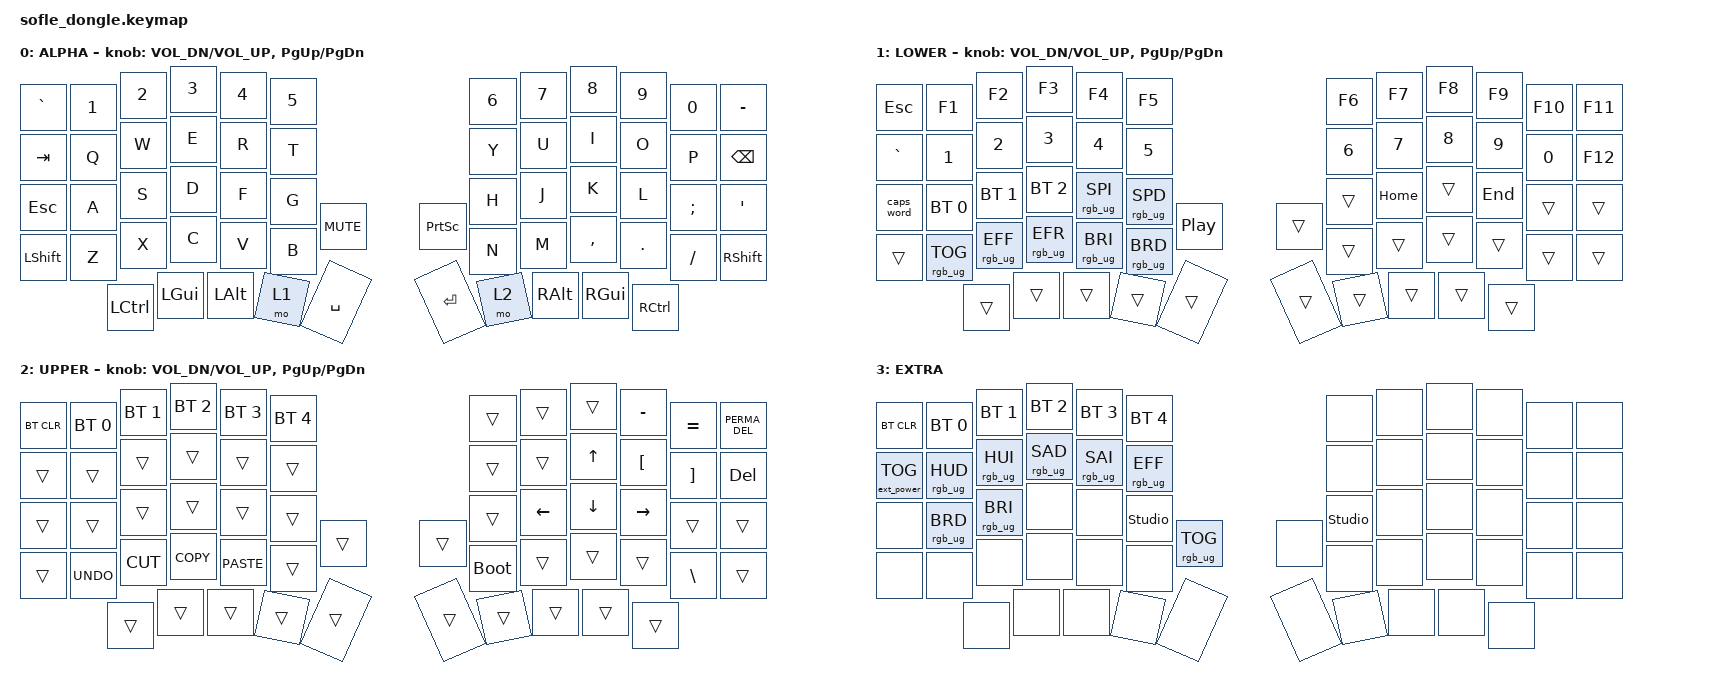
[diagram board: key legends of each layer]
/*
 * Copyright (c) 2020 The ZMK Contributors
 *
 * SPDX-License-Identifier: MIT
 */

#include <behaviors.dtsi>
#include <dt-bindings/zmk/bt.h>
#include <dt-bindings/zmk/ext_power.h>
#include <dt-bindings/zmk/keys.h>
#include <dt-bindings/zmk/rgb.h>

#define BASE 0
#define LOWER 1
#define RAISE 2
#define ADJUST 3

/ {
    // Activate ADJUST layer by pressing raise and lower

    conditional_layers {
        compatible = "zmk,conditional-layers";

        adjust_layer {
            if-layers = <LOWER RAISE>;
            then-layer = <ADJUST>;
        };
    };

    macros {
        M_COPY: M_COPY {
            compatible = "zmk,behavior-macro";
            #binding-cells = <0>;
            bindings = <&kp LG(C)>;
            label = "M_COPY";
        };

        M_PASTE: M_PASTE {
            compatible = "zmk,behavior-macro";
            #binding-cells = <0>;
            bindings = <&kp LG(V)>;
            label = "M_PASTE";
        };

        M_UNDO: M_UNDO {
            compatible = "zmk,behavior-macro";
            #binding-cells = <0>;
            bindings = <&kp LG(Z)>;
            label = "M_UNDO";
        };

        M_CUT: M_CUT {
            compatible = "zmk,behavior-macro";
            #binding-cells = <0>;
            bindings = <&kp LG(X)>;
            label = "M_CUT";
        };

        PERMA_DEL: PERMA_DEL {
            compatible = "zmk,behavior-macro";
            #binding-cells = <0>;
            bindings = <&kp LS(DELETE)>;
            label = "PERMA_DEL";
        };
    };

    keymap {
        compatible = "zmk,keymap";

        ALPHA {
            label = "ALPHA";

            // ------------------------------------------------------------------------------------------------------------
            // |   `   |  1  |  2  |  3   |  4   |  5   |                   |  6   |  7    |  8    |  9   |   0   |       |
            // |  ESC  |  Q  |  W  |  E   |  R   |  T   |                   |  Y   |  U    |  I    |  O   |   P   | BKSPC |
            // |  TAB  |  A  |  S  |  D   |  F   |  G   |                   |  H   |  J    |  K    |  L   |   ;   |   '   |
            // | SHIFT |  Z  |  X  |  C   |  V   |  B   |  MUTE  |  |       |  N   |  M    |  ,    |  .   |   /   | SHIFT |
            //               | GUI | ALT  | CTRL | LOWER|  ENTER |  | SPACE | RAISE| CTRL  | ALT   | GUI  |

            bindings = <
&kp GRAVE  &kp N1  &kp N2     &kp N3    &kp N4    &kp N5                                 &kp N6  &kp N7    &kp N8     &kp N9     &kp N0    &kp MINUS
&kp TAB    &kp Q   &kp W      &kp E     &kp R     &kp T                                  &kp Y   &kp U     &kp I      &kp O      &kp P     &kp BSPC
&kp ESC    &kp A   &kp S      &kp D     &kp F     &kp G                                  &kp H   &kp J     &kp K      &kp L      &kp SEMI  &kp SQT
&kp LSHFT  &kp Z   &kp X      &kp C     &kp V     &kp B   &kp C_MUTE    &kp PRINTSCREEN  &kp N   &kp M     &kp COMMA  &kp DOT    &kp FSLH  &kp RSHFT
                   &kp LCTRL  &kp LGUI  &kp LALT  &mo 1   &kp SPACE     &kp RETURN       &mo 2   &kp RALT  &kp RGUI   &kp RCTRL
            >;

            sensor-bindings =
                <&inc_dec_kp C_VOL_DN C_VOL_UP>,
                <&inc_dec_kp PG_UP PG_DN>;
        };

        LOWER {
            label = "LOWER";

            // TODO: Some binds are waiting for shifted keycode support.
            // ------------------------------------------------------------------------------------------------------------
            // |       |  F1 |  F2 |  F3  |  F4  |  F5  |                   |  F6  |  F7   |  F8   |  F9  |  F10  |  F11  |
            // |   `   |  1  |  2  |  3   |  4   |  5   |                   |  6   |  7    |  8    |  9   |   0   |  F12  |
            // |       |  !  |  @  |  #   |  $   |  %   |                   |  ^   |  &    |  *    |  (   |   )   |   |   |
            // |       |  =  |  -  |  +   |  {   |  }   |        |  |       |  [   |  ]    |  ;    |  :   |   \   |       |
            //               |     |      |      |      |        |  |       |      |       |       |      |

            bindings = <
&kp ESCAPE  &kp F1           &kp F2           &kp F3           &kp F4           &kp F5                                       &kp F6  &kp F7    &kp F8  &kp F9   &kp F10  &kp F11
&kp GRAVE   &kp N1           &kp N2           &kp N3           &kp N4           &kp N5                                       &kp N6  &kp N7    &kp N8  &kp N9   &kp N0   &kp F12
&caps_word  &bt BT_SEL 0     &bt BT_SEL 1     &bt BT_SEL 2     &rgb_ug RGB_SPI  &rgb_ug RGB_SPD                              &trans  &kp HOME  &trans  &kp END  &trans   &trans
&trans      &rgb_ug RGB_TOG  &rgb_ug RGB_EFF  &rgb_ug RGB_EFR  &rgb_ug RGB_BRI  &rgb_ug RGB_BRD  &kp C_PLAY_PAUSE    &trans  &trans  &trans    &trans  &trans   &trans   &trans
                             &trans           &trans           &trans           &trans           &trans              &trans  &trans  &trans    &trans  &trans
            >;

            sensor-bindings =
                <&inc_dec_kp C_VOL_DN C_VOL_UP>,
                <&inc_dec_kp PG_UP PG_DN>;
        };

        UPPER {
            label = "UPPER";

            // ------------------------------------------------------------------------------------------------------------
            // | BTCLR | BT1  | BT2  |  BT3  |  BT4  |  BT5 |                |      |      |       |      |       |       |
            // |       | INS  | PSCR | GUI   |       |      |                | PGUP |      |   ^   |      |       |       |
            // |       | ALT  | CTRL | SHIFT |       | CAPS |                | PGDN |   <- |   v   |  ->  |  DEL  | BKSPC |
            // |       | UNDO | CUT  | COPY  | PASTE |      |      |  |      |      |      |       |      |       |       |
            //                |      |       |       |      |      |  |      |      |      |       |      |

            bindings = <
&bt BT_CLR  &bt BT_SEL 0  &bt BT_SEL 1  &bt BT_SEL 2  &bt BT_SEL 3  &bt BT_SEL 4                    &trans       &trans    &trans    &kp MINUS  &kp EQUAL      &PERMA_DEL
&trans      &trans        &trans        &trans        &trans        &trans                          &trans       &trans    &kp UP    &kp LBKT   &kp RBKT       &kp DEL
&trans      &trans        &trans        &trans        &trans        &trans                          &trans       &kp LEFT  &kp DOWN  &kp RIGHT  &trans         &trans
&trans      &kp K_UNDO    &kp K_CUT     &kp K_COPY    &kp K_PASTE   &trans        &trans    &trans  &bootloader  &trans    &trans    &trans     &kp BACKSLASH  &trans
                          &trans        &trans        &trans        &trans        &trans    &trans  &trans       &trans    &trans    &trans
            >;

            sensor-bindings =
                <&inc_dec_kp C_VOL_DN C_VOL_UP>,
                <&inc_dec_kp PG_UP PG_DN>;
        };

        EXTRA {
            // ----------------------------------------------------------------------------------------------------------------------------
            // | BTCLR  |  BT1    |  BT2    |   BT3   |   BT4   |   BT5   |                  |      |      |       |      |       |       |
            // | EXTPWR | RGB_HUD | RGB_HUI | RGB_SAD | RGB_SAI | RGB_EFF |                  |      |      |       |      |       |       |
            // |        | RGB_BRD | RGB_BRI |         |         |         |                  |      |      |       |      |       |       |
            // |        |         |         |         |         |         | RGB_TOG | |      |      |      |       |      |       |       |
            //                    |         |         |         |         |         | |      |      |      |       |      |

            label = "EXTRA";
            bindings = <
&bt BT_CLR         &bt BT_SEL 0     &bt BT_SEL 1     &bt BT_SEL 2     &bt BT_SEL 3     &bt BT_SEL 4                               &none           &none  &none  &none  &none  &none
&ext_power EP_TOG  &rgb_ug RGB_HUD  &rgb_ug RGB_HUI  &rgb_ug RGB_SAD  &rgb_ug RGB_SAI  &rgb_ug RGB_EFF                            &none           &none  &none  &none  &none  &none
&none              &rgb_ug RGB_BRD  &rgb_ug RGB_BRI  &none            &none            &studio_unlock                             &studio_unlock  &none  &none  &none  &none  &none
&none              &none            &none            &none            &none            &none            &rgb_ug RGB_TOG    &none  &none           &none  &none  &none  &none  &none
                                    &none            &none            &none            &none            &none              &none  &none           &none  &none  &none
            >;
        };
    };
};
